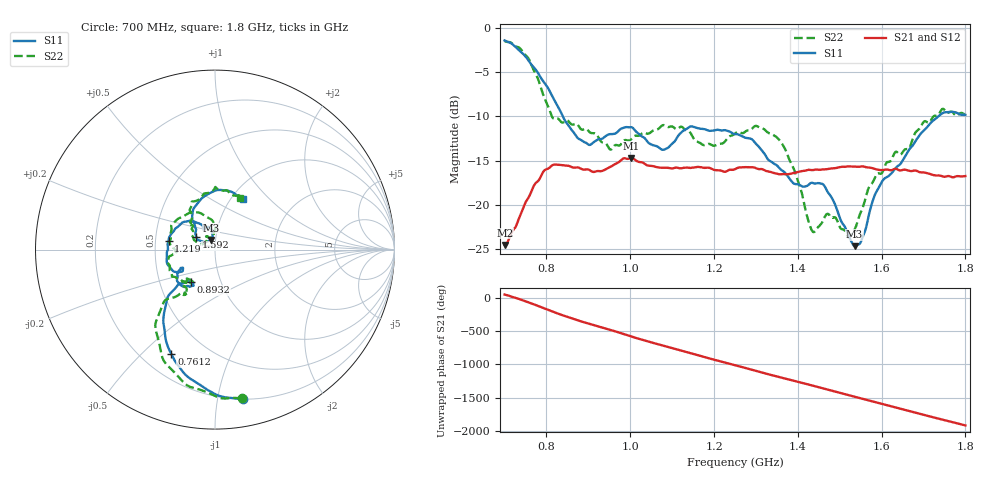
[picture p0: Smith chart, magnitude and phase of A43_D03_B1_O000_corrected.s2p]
! Created with skrf 1.9.0 (http://scikit-rf.org).
# Hz S RI R 50.0
!freq ReS11 ImS11 ReS21 ImS21 ReS12 ImS12 ReS22 ImS22
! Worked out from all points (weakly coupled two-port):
!   1601 points, 700 MHz to 1.8 GHz, reference 50 ohm
!   highest |S21| = -14.69 dB at 1.002 GHz (marker M1); lowest = -24.5 dB at 700.7 MHz (marker M2)
!   lowest |S11| = -24.6 dB at 1.535 GHz (marker M3), VSWR 1.12, Z = 47.5 + j5.16 ohm
!   |S11| at or under -10 dB: 838.9 MHz to 1.735 GHz (896.4 MHz wide, 69.6 % of centre)
!   |S22| runs from -23.7 to -1.5 dB; largest |S21 - S12| = 0.0035
!   S11 on the Smith chart (normalised r, x): 700 MHz: 0.20, -1.19; 761.2 MHz: 0.32, -0.62; 893.2 MHz: 0.72, -0.27; 1.219 GHz: 0.59, +0.06; 1.592 GHz: 0.80, +0.11; 1.8 GHz: 1.13, +0.71
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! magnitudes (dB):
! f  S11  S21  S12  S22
! 700 MHz  -1.4  -24.5  -24.3  -1.5
! 700.7 MHz  -1.5  -24.5  -24.2  -1.5
! 761.2 MHz  -4.0  -18.8  -18.7  -3.9
! 814.8 MHz  -7.8  -15.5  -15.6  -10.2
! 883.6 MHz  -12.7  -15.9  -15.8  -11.5
! 893.2 MHz  -13.0  -16.0  -16.1  -11.4
! 953 MHz  -12.0  -15.7  -15.7  -13.7
! 1.002 GHz  -11.2  -14.7  -14.8  -12.6
! 1.067 GHz  -13.5  -15.8  -15.7  -11.4
! 1.143 GHz  -11.1  -15.8  -15.8  -11.8
! 1.219 GHz  -11.6  -16.1  -16.2  -13.1
! 1.25 GHz  -12.0  -16.0  -15.9  -11.9
! 1.356 GHz  -15.8  -16.5  -16.5  -12.7
! 1.394 GHz  -17.6  -16.4  -16.3  -16.3
! 1.434 GHz  -17.5  -16.1  -16.0  -22.9
! 1.464 GHz  -17.9  -16.0  -16.0  -21.4
! 1.535 GHz  -24.6  -15.7  -15.7  -22.8
! 1.554 GHz  -23.7  -15.6  -15.7  -20.4
! 1.592 GHz  -18.1  -16.0  -16.0  -16.4
! 1.617 GHz  -16.7  -16.0  -16.0  -15.1
! 1.738 GHz  -9.9  -16.7  -16.7  -9.6
! 1.8 GHz  -9.8  -16.7  -16.7  -9.9
